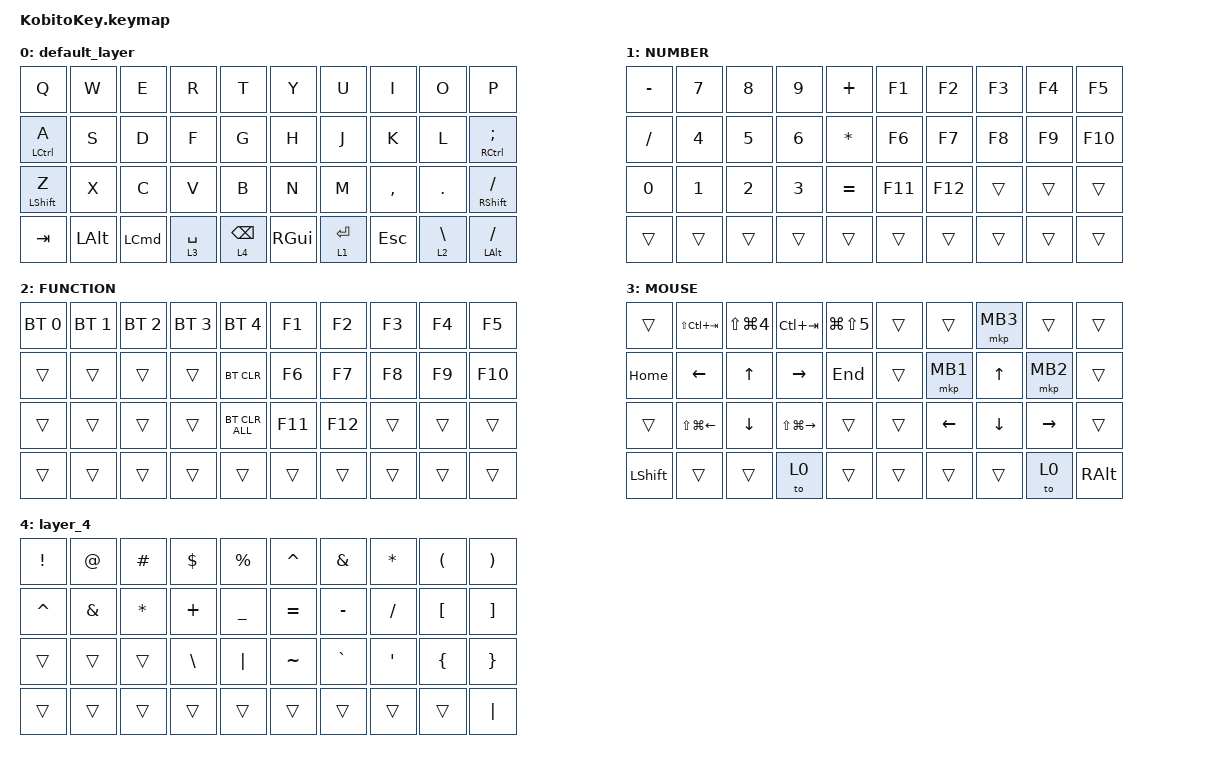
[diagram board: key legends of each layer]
#include <input/processors.dtsi>
#include <behaviors.dtsi>
#include <dt-bindings/zmk/bt.h>
#include <dt-bindings/zmk/keys.h>
#include <dt-bindings/zmk/pointing.h>

&mt {
    tapping-term-ms = <300>;
    require-prior-idle-ms = <150>;
    flavor = "tap-preferred";
};

&lt {
    tapping-term-ms = <300>;
    require-prior-idle-ms = <150>;
    flavor = "hold-preferred";
};

/ {
    combos {
        compatible = "zmk,combos";

        combo_eisu {
            timeout-ms = <50>;
            key-positions = <2 3>;
            bindings = <&kp LANG2>;
        };

        combo_kana {
            timeout-ms = <50>;
            key-positions = <16 17>;
            bindings = <&kp LANG1>;
        };

        combo_esc {
            timeout-ms = <50>;
            key-positions = <0 1>;
            bindings = <&kp ESC>;
        };

        combo_tab {
            timeout-ms = <50>;
            key-positions = <11 12>;
            bindings = <&kp TAB>;
        };

        ShiftTAB {
            bindings = <&kp LS(TAB)>;
            key-positions = <12 13>;
        };

        quotation {
            bindings = <&kp SINGLE_QUOTE>;
            key-positions = <17 18>;
        };

        double_quotation {
            bindings = <&kp DOUBLE_QUOTES>;
            key-positions = <18 19>;
        };
    };

    keymap {
        compatible = "zmk,keymap";

        default_layer {
            bindings = <
&kp Q             &kp W     &kp E     &kp R        &kp T            &kp Y          &kp U        &kp I      &kp O            &kp P
&mt LCTRL A       &kp S     &kp D     &kp F        &kp G            &kp H          &kp J        &kp K      &kp L            &mt RCTRL SEMI
&mt LEFT_SHIFT Z  &kp X     &kp C     &kp V        &kp B            &kp N          &kp M        &kp COMMA  &kp DOT          &mt RIGHT_SHIFT SLASH
&kp TAB           &kp LALT  &kp LCMD  &lt 3 SPACE  &lt 4 BACKSPACE  &kp RIGHT_GUI  &lt 1 ENTER  &kp ESC    &lt 2 BACKSLASH  &mt LALT SLASH
            >;
        };

        layer1 {
            label = "NUMBER";
            bindings = <
&kp MINUS  &kp N7  &kp N8  &kp N9  &kp PLUS      &kp F1   &kp F2   &kp F3  &kp F4  &kp F5
&kp SLASH  &kp N4  &kp N5  &kp N6  &kp ASTERISK  &kp F6   &kp F7   &kp F8  &kp F9  &kp F10
&kp N0     &kp N1  &kp N2  &kp N3  &kp EQUAL     &kp F11  &kp F12  &trans  &trans  &trans
&trans     &trans  &trans  &trans  &trans        &trans   &trans   &trans  &trans  &trans
            >;
        };

        layer2 {
            label = "FUNCTION";
            bindings = <
&bt BT_SEL 0  &bt BT_SEL 1  &bt BT_SEL 2  &bt BT_SEL 3  &bt BT_SEL 4    &kp F1   &kp F2   &kp F3  &kp F4  &kp F5
&trans        &trans        &trans        &trans        &bt BT_CLR      &kp F6   &kp F7   &kp F8  &kp F9  &kp F10
&trans        &trans        &trans        &trans        &bt BT_CLR_ALL  &kp F11  &kp F12  &trans  &trans  &trans
&trans        &trans        &trans        &trans        &trans          &trans   &trans   &trans  &trans  &trans
            >;
        };

        layer3 {
            label = "MOUSE";
            bindings = <
&trans     &kp LS(LC(TAB))         &kp LS(LG(N4))  &kp LC(TAB)              &kp LG(LS(N5))  &trans  &trans          &mkp MB3        &trans           &trans
&kp HOME   &kp LEFT_ARROW          &kp UP_ARROW    &kp RIGHT_ARROW          &kp END         &trans  &mkp MB1        &kp UP_ARROW    &mkp MB2         &trans
&trans     &kp LS(LG(LEFT_ARROW))  &kp DOWN_ARROW  &kp LS(LG(RIGHT_ARROW))  &trans          &trans  &kp LEFT_ARROW  &kp DOWN_ARROW  &kp RIGHT_ARROW  &trans
&kp LSHFT  &trans                  &trans          &to 0                    &trans          &trans  &trans          &trans          &to 0            &kp RALT
            >;
        };

        layer_4 {
            bindings = <
&kp EXCLAMATION  &kp AT_SIGN    &kp HASH      &kp DOLLAR     &kp PERCENT     &kp CARET  &kp AMPERSAND  &kp ASTERISK  &kp LEFT_PARENTHESIS  &kp RIGHT_PARENTHESIS
&kp CARET        &kp AMPERSAND  &kp ASTERISK  &kp PLUS       &kp UNDERSCORE  &kp EQUAL  &kp MINUS      &kp SLASH     &kp LEFT_BRACKET      &kp RIGHT_BRACKET
&trans           &trans         &trans        &kp BACKSLASH  &kp PIPE        &kp TILDE  &kp GRAVE      &kp SQT       &kp LEFT_BRACE        &kp RIGHT_BRACE
&trans           &trans         &trans        &trans         &trans          &trans     &trans         &trans        &trans                &kp PIPE
            >;
        };
    };
};
